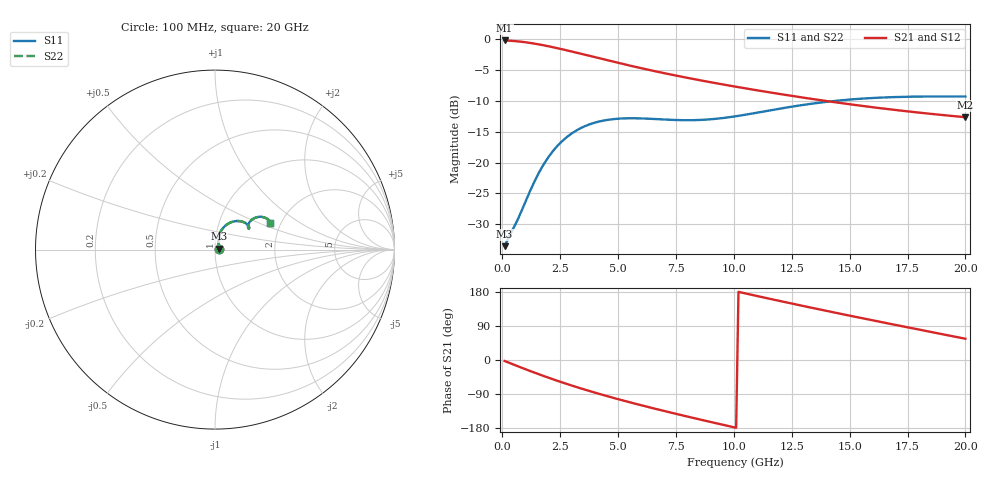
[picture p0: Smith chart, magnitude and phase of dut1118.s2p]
! Touchstone file exported from HFSS 2024.1.0
!  File:  C:/UserFiles/LocalFiles/RDL_TSV_Batchsim/temp_RDL_TSV_1118_1780105386.aedt
!  Generated:  09:53:39 AM May 30, 2026
!  Design:  RDL_TSV
!  Project:  temp_RDL_TSV_1118_1780105386
!  Setup:  Setup1
!  Solution:  Sweep
! Variables:
!  dtsv = 11.72um
!  hbump = 3um
!  htsv = 78.15um
!  ldown = 635.34um
!  lrdl = 681.52um
!  p = 40
!  p1 = 43.27um
!  rhole = 10um
!  subl = 4632.1um
!  t = 450um
!  tdown = 4.57um
!  trdl = 4.97um
!  viad = 10um
!  wdown = 17.42um
!  wrdl = 16.97um
!  xbump = 18um
# GHz S MA R 50.000000
! Terminal data exported
! Port[1] = TM1_1_T1
! Port[2] = TM1_4_T1
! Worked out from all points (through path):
!   200 points, 100 MHz to 20 GHz, reference 50 ohm
!   highest |S21| = -0.18 dB at 100 MHz (marker M1); lowest = -12.6 dB at 20 GHz (marker M2)
!   group delay of S21, straight-line fit = 40.3 ps
!   lowest |S11| = -33.6 dB at 100 MHz (marker M3), VSWR 1.04, Z = 52.1 + j0.511 ohm
!   |S11| at or under -10 dB: start of sweep to 14.36 GHz
!   |S22| runs from -33.6 to -9.3 dB; largest |S21 - S12| = 6.6e-15
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0.1  0.02093 13.6  0.9793 -2.5  0.9793 -2.5  0.02093 13.6
! Gamma 0 0 0 0
! Port Impedance 50 0 50 0
0.5  0.02974 43.9  0.9691 -12.4  0.9691 -12.4  0.02974 43.9
0.9  0.04334 63.3  0.9522 -22.0  0.9522 -22.0  0.04333 63.3
1.4  0.07077 73.1  0.9223 -33.6  0.9223 -33.6  0.07072 73.1
1.8  0.09737 73.2  0.8936 -42.5  0.8936 -42.5  0.0973 73.2
2.2  0.1246 70.1  0.8622 -51.1  0.8622 -51.1  0.1245 70.1
2.6  0.15 65.6  0.8295 -59.4  0.8295 -59.4  0.1499 65.6
3  0.1723 60.7  0.7964 -67.4  0.7964 -67.4  0.1722 60.7
3.5  0.1947 54.5  0.7556 -77.0  0.7556 -77.0  0.1946 54.5
4.3  0.2177 45.7  0.6938 -91.4  0.6938 -91.4  0.2176 45.7
5.1  0.2274 38.9  0.638 -105.0  0.638 -105.0  0.2274 38.9
5.9  0.2283 34.3  0.5887 -117.8  0.5887 -117.8  0.2283 34.3
6.8  0.2244 32.0  0.5406 -131.7  0.5406 -131.7  0.2245 31.9
7.6  0.221 32.0  0.5034 -143.5  0.5034 -143.5  0.2212 32.0
8.4  0.2211 33.5  0.4706 -155.1  0.4706 -155.1  0.2213 33.4
10.1  0.2376 37.7  0.412 -178.9  0.412 -178.9  0.2378 37.6
11.8  0.2698 39.1  0.3645 158.2  0.3645 158.2  0.2698 38.9
13.4  0.3009 37.3  0.3277 137.3  0.3277 137.3  0.3007 37.1
15  0.3244 34.0  0.2972 117.0  0.2972 117.0  0.324 33.8
16.7  0.3386 30.3  0.2707 96.0  0.2707 96.0  0.338 30.2
18.3  0.3434 27.6  0.2506 76.6  0.2506 76.6  0.3427 27.4
20  0.3432 25.8  0.2333 56.1  0.2333 56.1  0.3424 25.7
